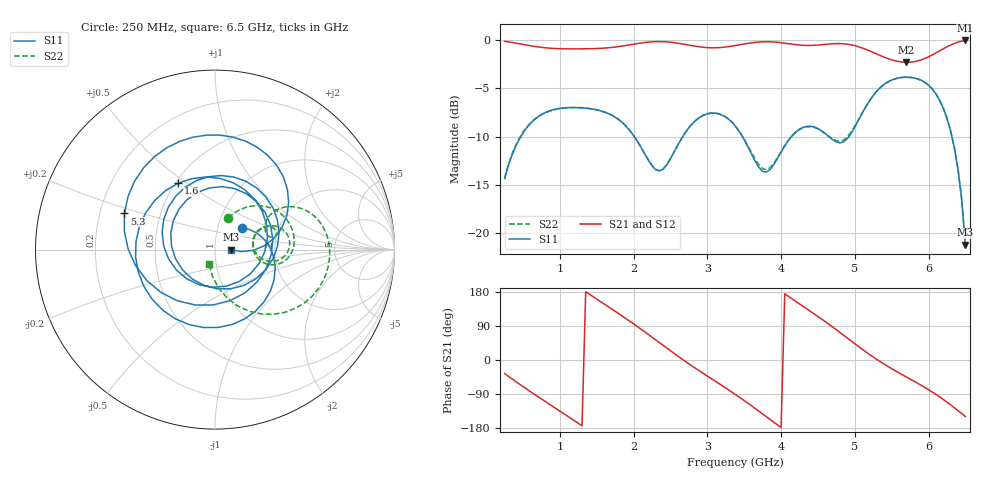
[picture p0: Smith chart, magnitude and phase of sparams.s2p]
! NobuRF pozar-ex5.6-binomial-r2: ports 1 "p1", 2 "p2"; 23300 + 22900 steps
# GHz S RI R 50
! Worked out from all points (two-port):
!   126 points, 250 MHz to 6.5 GHz, reference 50 ohm
!   highest |S21| = -0.09 dB at 6.5 GHz (marker M1); lowest = -2.3 dB at 5.7 GHz (marker M2)
!   |S21| within 3 dB of the highest: start of sweep to end of sweep
!   lowest |S11| = -21.2 dB at 6.5 GHz (marker M3), VSWR 1.19, Z = 59.6 + j0.0337 ohm
!   |S11| at or under -10 dB: 2.007 GHz to 2.667 GHz (659.7 MHz wide, 28.2 % of centre); 3.474 GHz to 4.141 GHz (667 MHz wide, 17.5 % of centre); 4.646 GHz to 4.921 GHz (274.6 MHz wide, 5.74 % of centre)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
!   |S22| runs from -21.3 to -3.9 dB; largest |S21 - S12| = 0.00078
!   S11 on the Smith chart (normalised r, x): 250 MHz: 1.30, +0.33; 1.6 GHz: 0.52, +0.46; 5.3 GHz: 0.31, +0.17; 6.5 GHz: 1.19, +0.00
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0.25  0.1494 0.1206  0.7944 -0.5732  0.7948 -0.5734  0.0749 0.1769
0.75  0.2264 -0.3425  -0.2038 -0.8887  -0.2037 -0.8885  0.3513 0.2114
1  -0.1426 -0.4184  -0.6337 -0.6353  -0.6336 -0.6355  0.4163 0.1422
1.3  -0.4423 -0.0411  -0.8904 -0.1008  -0.8904 -0.1006  0.4414 0.058
1.6  -0.2062 0.3694  -0.7646 0.4817  -0.7645 0.4815  0.4235 -0.0228
2  0.2872 0.1395  -0.0856 0.943  -0.0855 0.9432  0.3091 -0.0847
2.35  -0.0132 -0.2097  0.6799 0.7006  0.6797 0.7004  0.2101 0.0185
2.8  -0.2192 0.2975  0.8899 -0.2668  0.8901 -0.2668  0.3462 0.1283
3.05  0.1047 0.4042  0.5989 -0.6814  0.5987 -0.6815  0.4139 0.0552
3.4  0.3489 0.021  -0.0584 -0.9328  -0.0582 -0.9327  0.3452 -0.0619
3.7  0.012 -0.2185  -0.6899 -0.6839  -0.6901 -0.684  0.225 -0.0142
3.95  -0.2425 0.0203  -0.9566 -0.1501  -0.9564 -0.1498  0.2277 0.0925
4.2  -0.0973 0.3193  -0.8496 0.4055  -0.8494 0.4052  0.307 0.1278
4.45  0.2323 0.2672  -0.4882 0.7968  -0.4884 0.797  0.3419 0.0844
4.65  0.3143 -0.0244  -0.0679 0.9464  -0.0675 0.9464  0.3088 0.0693
4.9  -0.0105 -0.3083  0.5063 0.8  0.506 0.7995  0.28 0.1442
5.3  -0.5045 0.2016  0.8413 0.0206  0.8416 0.0207  0.4921 0.2255
5.5  -0.3361 0.5189  0.7245 -0.3055  0.7242 -0.3059  0.6066 0.1184
5.7  -0.047 0.6378  0.5399 -0.5396  0.5394 -0.5392  0.6385 -0.0432
6  0.3427 0.4706  0.1655 -0.798  0.1659 -0.7981  0.5007 -0.2951
6.25  0.3727 0.1212  -0.3316 -0.8555  -0.3321 -0.8553  0.1914 -0.3439
6.5  0.0874 0.000281  -0.8512 -0.5049  -0.8505 -0.5045  -0.0329 -0.0794
